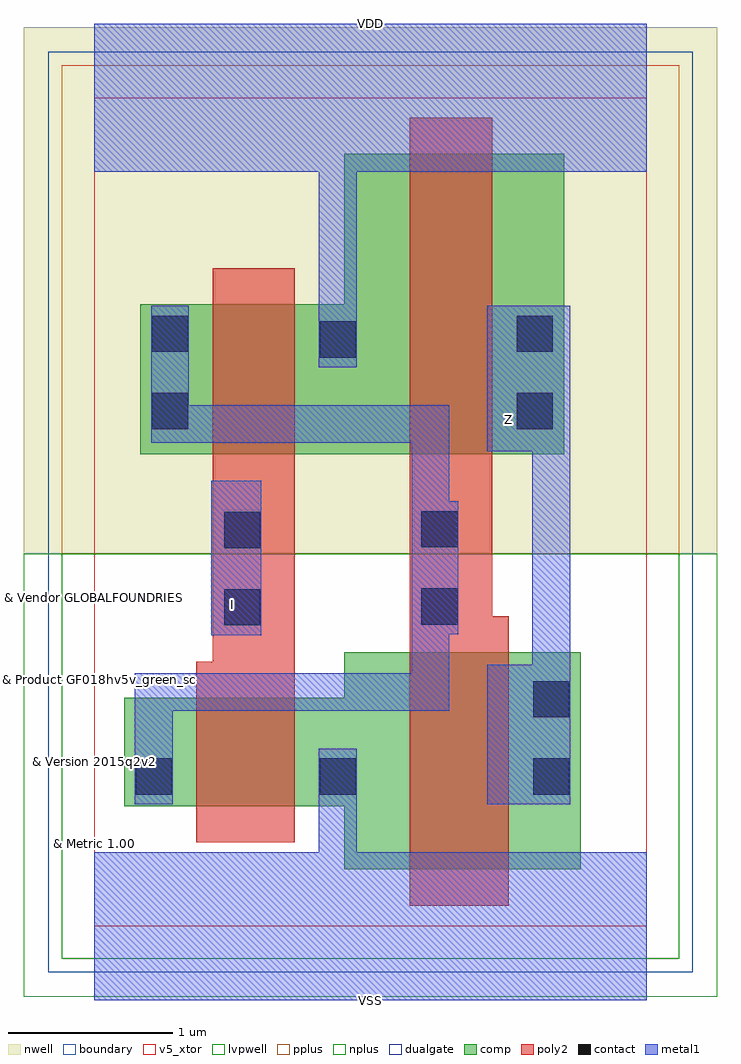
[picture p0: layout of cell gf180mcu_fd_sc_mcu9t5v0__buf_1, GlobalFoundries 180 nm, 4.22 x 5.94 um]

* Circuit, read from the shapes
.subckt gf180mcu_fd_sc_mcu9t5v0__buf_1 I VDD VSS Z
XM1 VSS I n1 VSUBS nfet_05v0 w=0.66u l=0.6u
XM2 Z n1 VSS VSUBS nfet_05v0 w=1.32u l=0.6u
XM3 VDD I n1 n2 pfet_05v0 w=0.915u l=0.5u
XM4 Z n1 VDD n2 pfet_05v0 w=1.83u l=0.5u
.ends

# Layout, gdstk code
import gdstk
lib = gdstk.Library(unit=1e-6, precision=1e-09)
def R(c, l, rs):  # rectangles x0, y0, x1, y1
    for r in rs: c.add(gdstk.rectangle(r[:2], r[2:], *l))
def P(c, l, *ps):  # polygons
    for p in ps: c.add(gdstk.Polygon(p, *l))
boundary = (0, 0)
nwell = (21, 0)
comp = (22, 0)
poly2 = (30, 0)
pplus = (31, 0)
nplus = (32, 0)
contact = (33, 0)
metal1 = (34, 0)
dualgate = (55, 0)
v5_xtor = (112, 1)
lvpwell = (204, 0)

gf180mcu_fd_sc_mcu9t5v0_ = lib.new_cell('gf180mcu_fd_sc_mcu9t5v0__buf_1')
R(gf180mcu_fd_sc_mcu9t5v0_, boundary, [(0,0,3.36,5.04)])
R(gf180mcu_fd_sc_mcu9t5v0_, nwell, [(-0.43,2.265,3.79,5.47)])
P(gf180mcu_fd_sc_mcu9t5v0_, comp, [(0.28,2.87),(0.28,3.785),(1.52,3.785),(1.52,4.7),(2.86,4.7),(2.86,2.87)],
  [(1.52,0.345),(1.52,0.73),(0.18,0.73),(0.18,1.39),(1.52,1.39),(1.52,1.665),(2.96,1.665),(2.96,0.345)])
P(gf180mcu_fd_sc_mcu9t5v0_, poly2, [(0.62,0.51),(0.62,1.61),(0.72,1.61),(0.72,4.005),(1.22,4.005),(1.22,0.51)],
  [(1.92,0.125),(1.92,4.92),(2.42,4.92),(2.42,1.885),(2.52,1.885),(2.52,0.125)])
R(gf180mcu_fd_sc_mcu9t5v0_, pplus, [(-0.2,2.265,3.56,5.24)])
R(gf180mcu_fd_sc_mcu9t5v0_, nplus, [(-0.2,-0.2,3.56,2.265)])
R(gf180mcu_fd_sc_mcu9t5v0_, contact, [(0.25,0.8,0.47,1.02), (1.37,0.8,1.59,1.02), (2.67,0.8,2.89,1.02), (2.67,1.27,2.89,1.49), (0.79,1.83,1.01,2.05), (1.99,1.835,2.21,2.055), (0.79,2.3,1.01,2.52), (1.99,2.305,2.21,2.525), (0.35,3.025,0.57,3.245), (2.57,3.025,2.79,3.245), (1.37,3.46,1.59,3.68), (0.35,3.495,0.57,3.715), (2.57,3.495,2.79,3.715)])
R(gf180mcu_fd_sc_mcu9t5v0_, metal1, [(0.71,1.77,1.015,2.71)])
P(gf180mcu_fd_sc_mcu9t5v0_, metal1, [(0.245,0.74),(0.245,1.54),(1.93,1.54),(1.93,2.94),(0.345,2.94),(0.345,3.775),(0.575,3.775),(0.575,3.17),(2.16,3.17),(2.16,2.585),(2.215,2.585),(2.215,1.775),(2.16,1.775),(2.16,1.31),(0.475,1.31),(0.475,0.74)],
  [(2.39,0.74),(2.39,1.59),(2.665,1.59),(2.665,2.89),(2.39,2.89),(2.39,3.775),(2.895,3.775),(2.895,0.74)],
  [(0,-0.45),(0,0.45),(1.365,0.45),(1.365,1.08),(1.595,1.08),(1.595,0.45),(3.36,0.45),(3.36,-0.45)],
  [(1.365,3.4),(1.365,4.59),(0,4.59),(0,5.49),(3.36,5.49),(3.36,4.59),(1.595,4.59),(1.595,3.4)])
R(gf180mcu_fd_sc_mcu9t5v0_, dualgate, [(-0.28,-0.28,3.64,5.32)])
R(gf180mcu_fd_sc_mcu9t5v0_, v5_xtor, [(0,0,3.36,5.04)])
R(gf180mcu_fd_sc_mcu9t5v0_, lvpwell, [(-0.43,-0.43,3.79,2.265)])
gf180mcu_fd_sc_mcu9t5v0_.add(gdstk.Label('I', (0.84,1.96), layer=34, texttype=10))
gf180mcu_fd_sc_mcu9t5v0_.add(gdstk.Label('VDD', (1.68,5.49), layer=34, texttype=10))
gf180mcu_fd_sc_mcu9t5v0_.add(gdstk.Label('VSS', (1.68,-0.45), layer=34, texttype=10))
gf180mcu_fd_sc_mcu9t5v0_.add(gdstk.Label('Z', (2.52,3.08), layer=34, texttype=10))
gf180mcu_fd_sc_mcu9t5v0_.add(gdstk.Label('& Vendor GLOBALFOUNDRIES', (0,2), layer=63, texttype=63))
gf180mcu_fd_sc_mcu9t5v0_.add(gdstk.Label('& Product GF018hv5v_green_sc9', (0,1.5), layer=63, texttype=63))
gf180mcu_fd_sc_mcu9t5v0_.add(gdstk.Label('& Version 2015q2v2', (0,1), layer=63, texttype=63))
gf180mcu_fd_sc_mcu9t5v0_.add(gdstk.Label('& Metric 1.00', (0,0.5), layer=63, texttype=63))

lib.write_gds('gf180mcu_fd_sc_mcu9t5v0__buf_1.gds')
